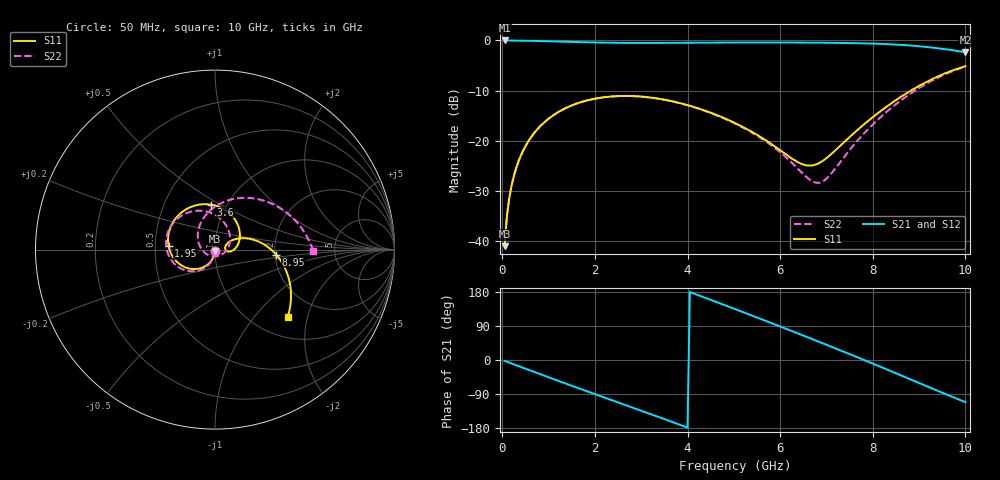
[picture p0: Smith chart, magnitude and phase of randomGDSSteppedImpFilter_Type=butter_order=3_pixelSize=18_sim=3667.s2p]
! freq	dB(S11)	phase(S11)	dB(S12)	phase(S12)
!  dB(S21)	phase(S21)	dB(S22)	phase(S22)
!S-par simulation data
#  GHz  S  DB  R 50
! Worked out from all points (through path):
!   200 points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, 50 MHz to 10 GHz, reference 50 ohm
!   highest |S21| = -0.02 dB at 50 MHz (marker M1); lowest = -2.4 dB at 10 GHz (marker M2)
!   group delay of S21, straight-line fit = 130 ps
!   lowest |S11| = -41.0 dB at 50 MHz (marker M3), VSWR 1.02, Z = 50 - j0.892 ohm
!   |S11| at or under -10 dB: start of sweep to 8.824 GHz
!   |S22| runs from -41.0 to -5.2 dB; largest |S21 - S12| = 0
!   S11 on the Smith chart (normalised r, x): 50 MHz: 1.00, -0.02; 1.95 GHz: 0.59, +0.03; 3.6 GHz: 0.85, +0.45; 8.95 GHz: 2.03, -0.13; 10 GHz: 1.39, -1.52
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0.05  -40.97 -92.3  -0.02 -2.4  -0.02 -2.4  -40.97 -92.0
0.1  -34.95 -95.1  -0.02 -4.7  -0.02 -4.7  -34.94 -94.5
0.2  -28.92 -100.2  -0.03 -9.3  -0.03 -9.3  -28.91 -99.1
0.5  -21.07 -115.0  -0.07 -23.0  -0.07 -23.0  -21.07 -112.2
1.15  -14.61 -146.5  -0.21 -52.5  -0.21 -52.5  -14.61 -139.8
1.75  -12.16 -175.2  -0.36 -79.0  -0.36 -79.0  -12.15 -164.5
1.95  -11.71 175.3  -0.41 -87.8  -0.41 -87.8  -11.70 -172.6
2.65  -11.07 141.8  -0.50 -118.4  -0.50 -118.4  -11.07 159.8
3.4  -11.65 104.9  -0.50 -151.4  -0.50 -151.4  -11.66 130.6
3.6  -11.99 94.9  -0.49 -160.3  -0.49 -160.3  -12.01 122.8
4.3  -13.75 59.4  -0.45 168.0  -0.45 168.0  -13.81 95.4
5.05  -16.57 22.8  -0.42 133.3  -0.42 133.3  -16.69 64.1
5.5  -18.80 4.3  -0.41 112.2  -0.41 112.2  -18.97 42.4
5.9  -21.21 -6.5  -0.42 93.2  -0.42 93.2  -21.52 19.0
6.7  -24.89 9.5  -0.45 54.8  -0.45 54.8  -28.09 -67.0
7  -23.45 22.8  -0.47 40.2  -0.47 40.2  -27.53 -122.2
7.55  -18.82 28.3  -0.54 13.1  -0.54 13.1  -21.27 167.2
7.95  -15.66 22.7  -0.63 -6.9  -0.63 -6.9  -17.20 133.0
8.35  -12.86 13.5  -0.77 -27.3  -0.77 -27.3  -13.83 103.2
8.95  -9.32 -4.7  -1.13 -58.1  -1.13 -58.1  -9.78 62.6
9.45  -7.00 -22.3  -1.62 -83.8  -1.62 -83.8  -7.23 31.2
10  -5.14 -43.0  -2.36 -111.2  -2.36 -111.2  -5.23 -0.8
